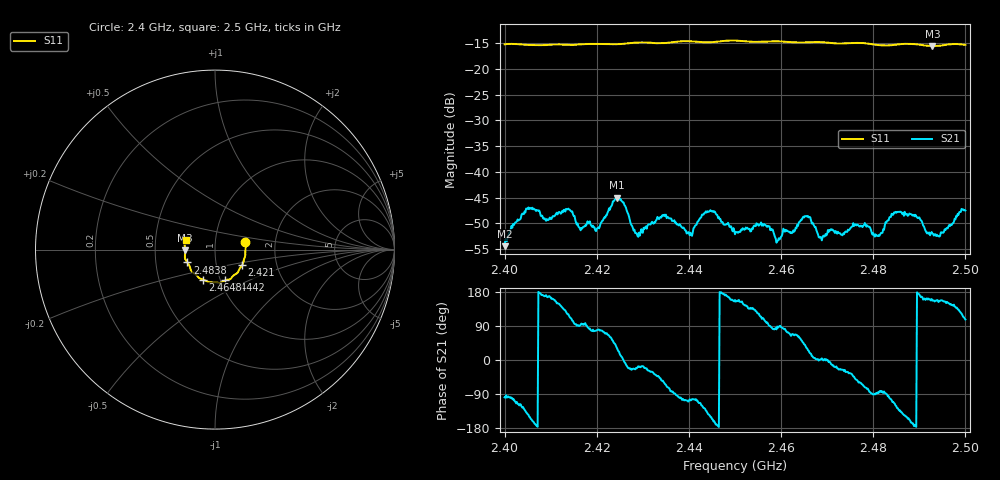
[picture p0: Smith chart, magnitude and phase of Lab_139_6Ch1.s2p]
# Hz S RI R 50
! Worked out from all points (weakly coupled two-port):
!   601 points, 2.4 GHz to 2.5 GHz, reference 50 ohm
!   highest |S21| = -45.03 dB at 2.4243 GHz (marker M1); lowest = -54.4 dB at 2.4 GHz (marker M2)
!   lowest |S11| = -15.6 dB at 2.4928 GHz (marker M3), VSWR 1.40, Z = 35.8 - j0.36 ohm
!   |S11| at or under -10 dB: start of sweep to end of sweep
!   S12 and S22 are empty: the file has one direction only
!   S11 on the Smith chart (normalised r, x): 2.4 GHz: 1.40, +0.12; 2.421 GHz: 1.33, -0.24; 2.4442 GHz: 1.05, -0.37; 2.4648 GHz: 0.83, -0.29; 2.4838 GHz: 0.73, -0.11; 2.5 GHz: 0.72, +0.08
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2.4e9  0.168 0.0409  -0.000277 -0.00188  0 0  0 0
2.405167e9  0.1703 0.00749  -0.00367 -0.00264  0 0  0 0
2.413833e9  0.1631 -0.0495  -0.00225 0.00378  0 0  0 0
2.416667e9  0.1589 -0.0682  -0.000308 0.00284  0 0  0 0
2.421e9  0.1503 -0.0877  0.00069 0.00317  0 0  0 0
2.424333e9  0.1382 -0.1043  0.00473 0.00301  0 0  0 0
2.428833e9  0.1274 -0.1268  0.00227 -0.000788  0 0  0 0
2.433333e9  0.1079 -0.1401  0.00266 -0.0024  0 0  0 0
2.440167e9  0.0813 -0.1663  -0.000574 -0.00236  0 0  0 0
2.444167e9  0.0569 -0.1713  -0.00326 -0.00247  0 0  0 0
2.45e9  0.0246 -0.1863  -0.00231 0.00092  0 0  0 0
2.456e9  -0.0142 -0.1819  -0.00112 0.00289  0 0  0 0
2.459333e9  -0.0323 -0.1817  0.000176 0.00215  0 0  0 0
2.464833e9  -0.0682 -0.1667  0.00258 0.00262  0 0  0 0
2.466667e9  -0.08 -0.1627  0.00311 0.000577  0 0  0 0
2.468667e9  -0.0884 -0.1582  0.00232 6.59e-05  0 0  0 0
2.476167e9  -0.1283 -0.1235  0.00196 -0.0024  0 0  0 0
2.480833e9  -0.1392 -0.098  8.52e-05 -0.0024  0 0  0 0
2.483333e9  -0.1505 -0.0762  -0.000334 -0.00338  0 0  0 0
2.483833e9  -0.1533 -0.0718  -0.000847 -0.00356  0 0  0 0
2.492833e9  -0.1658 -0.00489  -0.00233 0.001  0 0  0 0
2.5e9  -0.1625 0.0527  -0.00123 0.00404  0 0  0 0
